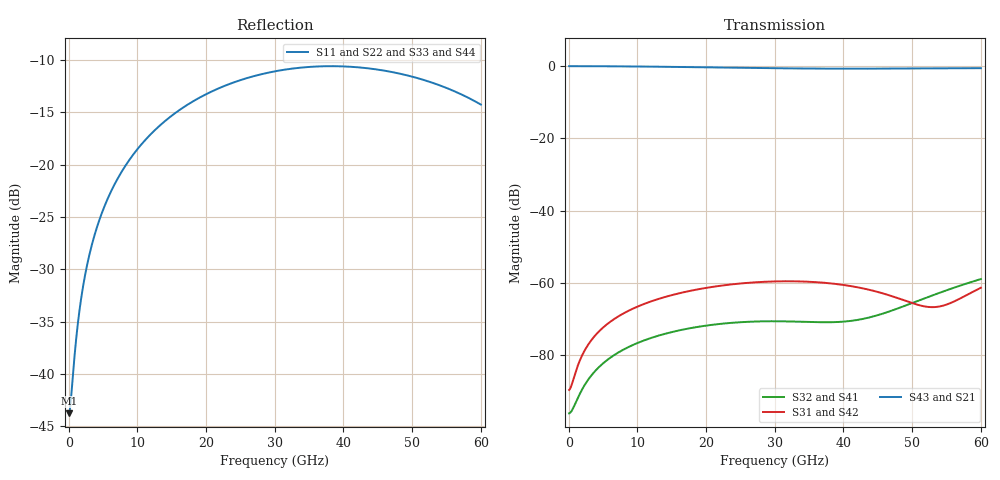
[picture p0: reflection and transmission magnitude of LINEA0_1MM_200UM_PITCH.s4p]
! TOUCHSTONE file generated by CST MICROWAVE STUDIO
! Date and time: Wed Oct 14 10:40:22 2026
! Project name: LINEA0_1MM_200UM_PITCH.cst
! Parameters = {CHANNEL_PITCH=0.2; GAP=0.00415; L=1; L1=0.02; L2=0.086; L3=0.066; NCELL=1; PITCH=0.18; START_POSITION=0.08; W1=0.003; W2=0.004; W3=0.009; WG=0.04985; gap_oxr=0.00125; linbo3_thickness=0.0002; mtx=0.002; oxiDinE=0.0014; w=0.15; ws=0.035}
! Header version: 2024
! Port assignment regex: !\s*Touchstone port\s*([0-9]+)\s*=\s*(CST MWS port|CST DES external port|CST DES block port)\s*(.+)\s* \(\"(.*)\"\)(\s*mode\s*([0-9]+))?.*
! Touchstone port assignment:
! Touchstone port 1 = CST MWS port 1 ("")
! Touchstone port 2 = CST MWS port 2 ("")
! Touchstone port 3 = CST MWS port 3 ("")
! Touchstone port 4 = CST MWS port 4 ("")
# GHz S MA R 50
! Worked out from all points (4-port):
!   1000 points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, 60 MHz to 60 GHz, reference 50 ohm
!   strongest paths, dB at 60 MHz, 15.06 GHz, 30.06 GHz, 45.06 GHz, 60 GHz:
!     S43: -0.1, -0.3, -0.6, -0.7, -0.6
!     S21: -0.1, -0.3, -0.6, -0.7, -0.6
!     S31: -89.6, -63.4, -59.6, -62.6, -61.4
!     S42: -89.6, -63.4, -59.6, -62.6, -61.4
!     S32: -96.1, -73.6, -70.6, -68.9, -59.0
!     S41: -96.1, -73.6, -70.6, -68.9, -59.0
!   lowest |S11| = -43.7 dB at 60 MHz (marker M1), VSWR 1.01, Z = 50.6 - j0.0756 ohm
!   |S11| at or under -10 dB: start of sweep to end of sweep
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0.06  0.006495 -6.6  0.9921 -0.2  3.3e-05 4.9  1.566e-05 176.4
      0.9921 -0.2  0.006495 -6.6  1.566e-05 176.4  3.3e-05 4.9
      3.3e-05 4.9  1.566e-05 176.4  0.006485 -6.6  0.9921 -0.2
      1.566e-05 176.4  3.3e-05 4.9  0.9921 -0.2  0.006485 -6.6
2.04  0.02565 -80.2  0.9917 -5.2  0.0001031 66.4  3.468e-05 106.9
      0.9917 -5.2  0.02565 -80.2  3.468e-05 106.9  0.0001031 66.4
      0.0001031 66.4  3.468e-05 106.9  0.02566 -80.2  0.9917 -5.2
      3.468e-05 106.9  0.0001031 66.4  0.9917 -5.2  0.02566 -80.2
4.62  0.05631 -94.2  0.9899 -11.7  0.0002227 70.1  7.136e-05 80.3
      0.9899 -11.7  0.05631 -94.2  7.136e-05 80.3  0.0002227 70.1
      0.0002227 70.1  7.136e-05 80.3  0.05635 -94.2  0.9899 -11.7
      7.136e-05 80.3  0.0002227 70.1  0.9899 -11.7  0.05635 -94.2
15.36  0.175 -123.6  0.9694 -38.4  0.0006892 48.8  0.0002121 20.7
       0.9694 -38.4  0.175 -123.6  0.0002121 20.7  0.0006892 48.8
       0.0006892 48.8  0.0002121 20.7  0.1751 -123.6  0.9694 -38.4
       0.0002121 20.7  0.0006892 48.8  0.9694 -38.4  0.1751 -123.6
37.44  0.2953 -175.1  0.9175 -89.4  0.0009963 -7.7  0.0002846 -57.3
       0.9175 -89.4  0.2953 -175.1  0.0002846 -57.3  0.0009963 -7.7
       0.0009963 -7.7  0.0002846 -57.3  0.2955 -175.1  0.9175 -89.3
       0.0002846 -57.3  0.0009963 -7.7  0.9175 -89.3  0.2955 -175.1
52.74  0.2475 151.9  0.9259 -123.9  0.000461 -0.9  0.0006584 -72.6
       0.9259 -123.9  0.2475 151.9  0.0006584 -72.6  0.000461 -0.9
       0.000461 -0.9  0.0006584 -72.6  0.2477 151.9  0.9259 -123.9
       0.0006584 -72.6  0.000461 -0.9  0.9259 -123.9  0.2477 151.9
60  0.1937 137.7  0.9306 -141.3  0.0008552 27.8  0.001127 -105.1
    0.9306 -141.3  0.1937 137.7  0.001127 -105.1  0.0008552 27.8
    0.0008552 27.8  0.001127 -105.1  0.1939 137.7  0.9307 -141.2
    0.001127 -105.1  0.0008552 27.8  0.9307 -141.2  0.1939 137.7
